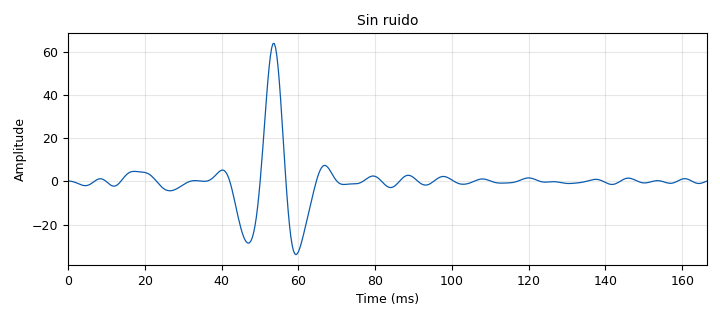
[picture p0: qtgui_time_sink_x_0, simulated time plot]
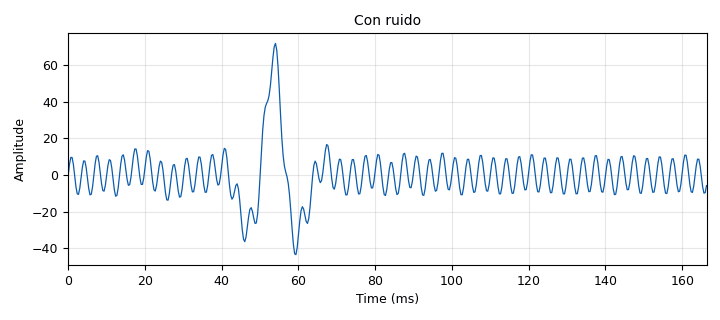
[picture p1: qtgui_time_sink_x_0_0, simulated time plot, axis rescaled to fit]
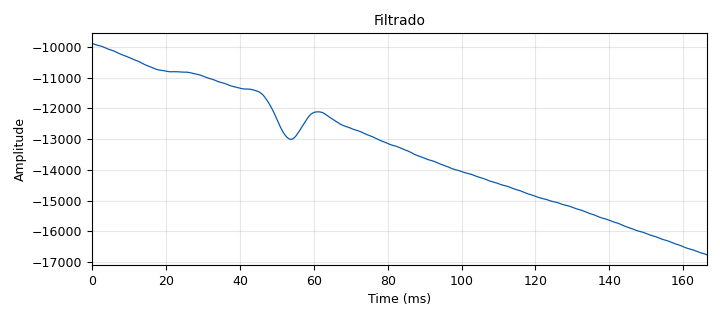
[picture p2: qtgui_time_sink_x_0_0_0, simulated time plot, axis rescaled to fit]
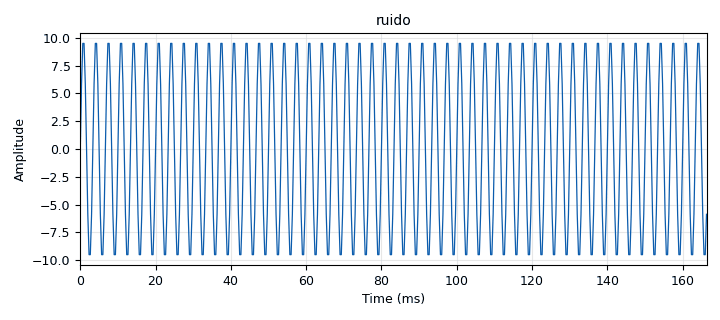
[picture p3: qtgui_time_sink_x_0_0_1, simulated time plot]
options:
  parameters:
    generate_options: qt_gui
    id: Practica1
    output_language: python
    title: Not titled yet
  states: {}

blocks:
- name: puntos
  id: variable
  parameters:
    value: '500'
  states: {}
- name: samp_rate
  id: variable
  parameters:
    value: '1000'
  states: {}
- name: analog_fastnoise_source_x_0
  id: analog_fastnoise_source_x
  parameters:
    amp: '1'
    noise_type: analog.GR_GAUSSIAN
    samples: '8192'
    seed: '0'
    type: float
  states: {state: disabled}
- name: analog_sig_source_x_1_0
  id: analog_sig_source_x
  parameters:
    amp: '1'
    freq: '500'
    offset: '20'
    phase: '0'
    samp_rate: samp_rate
    type: float
    waveform: analog.GR_SIN_WAVE
  states: {state: disabled}
- name: blocks_add_const_vxx_0
  id: blocks_add_const_vxx
  parameters:
    const: '50'
    type: float
  states: {state: disabled}
- name: blocks_add_xx_0
  id: blocks_add_xx
  parameters:
    type: float
  states: {}
- name: blocks_multiply_const_vxx_0
  id: blocks_multiply_const_vxx
  parameters:
    const: '1000'
    type: float
  states: {}
- name: blocks_multiply_const_vxx_0_0
  id: blocks_multiply_const_vxx
  parameters:
    const: '10'
    type: float
  states: {}
- name: blocks_multiply_const_vxx_0_1
  id: blocks_multiply_const_vxx
  parameters:
    const: '0.2'
    type: float
  states: {}
- name: blocks_vector_source_x_0
  id: blocks_vector_source_x
  parameters:
    repeat: 'True'
    type: float
    vector: (0.000200113940055307,0.00014440624344565,6.0975847227686e-05,-5.46014036076452e-05,-0.000204878638034827,-0.000389693367393234,-0.000605515156760819,-0.000845073566614587,-0.0010973383739139,-0.00134789985377776,-0.00157976454509979,-0.00177454265752001,-0.00191395970878005,-0.0019815811483561,-0.00196459984198519,-0.00185550816670283,-0.00165346461180738,-0.00136517340569841,-0.00100512675009838,-0.000595111797051836,-0.000162954497343012,0.000259446975251974,0.000638664251813284,0.000942647135539775,0.00114373266738037,0.00122145825287278,0.00116488206190405,0.000974146570954971,0.00066108481999859,0.000248758224861699,-0.000230079146238615,-0.000735483266907812,-0.00122357844230086,-0.00165027403648616,-0.00197508611570448,-0.00216469078181463,-0.00219585604870782,-0.00205745754562383,-0.00175137427968215,-0.0012921745930451,-0.000705627109905991,-2.61934024829646e-05,0.00070623499746316,0.00145001447050304,0.00216545975231623,0.00281820467003965,0.00338187295196471,0.00383979868501191,0.00418564482251067,0.00442289372035233,0.00456331145220758,0.00462460249040075,0.00462755938569609,0.00459306258315741,0.00453929232767813,0.004479477155928,0.00442042691696455,0.00436199292969834,0.00429747785415991,0.00421489902357234,0.00409890683677757,0.00393308722826981,0.00370234270831022,0.00339505297906624,0.00300476087828233,0.00253120439372679,0.00198060893859365,0.00136525227827014,0.000702403922614835,1.28100182091053e-05,-0.000681064038721584,-0.00135681126241814,-0.0019936793569625,-0.00257382906809958,-0.00308315947531173,-0.00351167272538253,-0.00385341439399119,-0.00410607663770059,-0.0042703834067176,-0.00434938741896758,-0.00434779807845636,-0.00427143194907586,-0.00412683895989059,-0.00392111552130566,-0.00366187730953036,-0.0033573354765104,-0.00301640424149474,-0.00264876657616781,-0.00226483700370197,-0.00187558340094141,-0.00149219871740396,-0.00112564356975896,-0.0007861065955804,-0.000482446835148157,-0.000221688231169623,-8.62951249527386e-06,0.000154385581516236,0.000267519242406115,0.000333322808098435,0.00035649026945816,0.000343538743343811,0.000302478817049617,0.000242529559864927,0.000173911403208241,0.000107718621780369,5.58376572181464e-05,3.08451706996274e-05,4.57977481643512e-05,0.000113819682155407,0.00024740994513233,0.000457424888816178,0.000751746312314292,0.00113370886396827,0.00160042705724378,0.00214121969459216,0.00273636736843054,0.00335644776873558,0.00396246788160763,0.00450695049003691,0.00493603863219083,0.00519256500348532,0.00521990726839201,0.0049663312853954,0.00438942952289843,0.00346020705160275,0.00216636412352442,0.000514378261624767,-0.00146990153061499,-0.00374227970146096,-0.00624280355345915,-0.00889966908468072,-0.011634020010416,-0.0143650850657392,-0.0170150323591609,-0.0195129330883569,-0.0217973250122449,-0.0238170419592341,-0.0255302112032664,-0.0269015879021039,-0.0278986605838057,-0.02848718728123,-0.0286269743452287,-0.0282687624938693,-0.0273530217634721,-0.0258112770760641,-0.0235703024307024,-0.0205591618237885,-0.0167186782761926,-0.0120125259399355,-0.00643881383622241,-4.08095522999134e-05,0.00708462603698658,0.0147822342202627,0.0228382690693347,0.0309858004449588,0.0389155638333789,0.0462919267831338,0.0527729592536368,0.0580330828669268,0.0617863954271837,0.0638085732164018,0.0639552760984739,0.0621752266453203,0.0585165853211623,0.0531258552668581,0.0462392581455556,0.0381672496627283,0.0292735089235518,0.0199502651629946,0.0105921595065571,0.00157094204776767,-0.00678683334513939,-0.0142173133175452,-0.0205307812255084,-0.0256164065654331,-0.029440374337847,-0.0320381056774195,-0.0335018148790261,-0.0339650166631736,-0.0335857688012085,-0.0325304016716887,-0.0309592652392753,-0.0290156538424294,-0.0268186037051668,-0.0244597583970689,-0.0220040240715717,-0.019493341676814,-0.01695262606752,-0.0143967832745243,-0.0118377199238216,-0.00929038872599876,-0.00677714321102035,-0.00432996665539077,-0.00199045400333611,0.000192277376209051,0.00216532498718682,0.00387678977280782,0.00528093198959948,0.00634301143696893,0.00704320975104985,0.00737917611053177,0.00736692228930839,0.00703999422413469,0.00644704153819311,0.00564807336214827,0.00470981290846006,0.00370063517668515,0.00268558875702079,0.00172196670022661,0.000855810589867568,0.000119617834971474,-0.000468611302221438,-0.000904988600115778,-0.00119814515551548,-0.00136666892838772,-0.00143588749936694,-0.00143435239413941,-0.00139038565461738,-0.00132901879431223,-0.00126959416845431,-0.00122421674357519,-0.00119714933804521,-0.00118514624652248,-0.0011786280822912,-0.00116352295108406,-0.00112354232075811,-0.00104262863600241,-0.000907307820844498,-0.000708702630835667,-0.00044400905976486,-0.000117302041487417,0.000260388889132944,0.000671716879054482,0.0010942808147187,0.00150237059728153,0.00186901370169647,0.00216812637952211,0.00237657854930063,0.00247600547966716,0.00245423670562643,0.00230625699474962,0.00203465933400678,0.00164959057783041,0.00116822309148751,0.000613809071636559,1.43888610348729e-05,-0.000598767410252708,-0.00119290138628019,-0.00173560499422722,-0.00219666663679108,-0.00254983234919323,-0.002774386464747,-0.00285645650209421,-0.0027899526416946,-0.00257706551620124,-0.0022282682706107,-0.0017617996140247,-0.00120264187897633,-0.00058104843132771,6.92863720027537e-05,0.000713288917776045,0.00131665206623983,0.00184790895369461,0.00228028570805822,0.00259320487946901,0.00277334383508756,0.00281519216230567,0.00272109445762555,0.00250080508512676,0.00217061574221539,0.00175214240481555,0.00127087423226119,0.000754593274143314,0.000231771187801268,-0.000269960953290867,-0.000725189579236312,-0.00111188182810547,-0.00141229608052683,-0.00161362194262253,-0.00170835036178683,-0.00169438886530371,-0.00157494584872142,-0.00135821122355096,-0.0010568594338002,-0.000687396712021385,-0.000269369952962888,0.000175547670451488,0.000624577161148594,0.00105493565827858,0.00144498309565059,0.00177536158251836,0.00203006061930671,0.00219733045655403,0.00227036297398893,0.00224766724959697,0.00213308670148552,0.00193543536512732,0.00166776930435413,0.00134635022736661,0.00098939584653526,0.000615739105620484,0.000243530967304695,-0.000110883953690052,-0.000433813133236578,-0.00071471618882065,-0.000946340529204577,-0.00112452450964548,-0.00124774485241352,-0.00131651688437315,-0.00133276959788013,-0.00129931038863656,-0.00121946778252208,-0.00109695910240497,-0.00093598102317022,-0.00074147288542198,-0.000519463971809334,-0.000277393643661564,-2.42915035434386e-05,0.000229275676684204,0.000471545570067621,0.000690195582914319,0.000873222944685021,0.00100997212678488,0.00109217741355436,0.0011148739153428,0.00107703891423008,0.000981856308384825,0.00083654554440856,0.000651755383136464,0.000440583079864948,0.00021733187677689,-3.84376192795978e-06,-0.000210240309046131,-0.000391697532860018,-0.000541353110097968,-0.000655977704628723,-0.000735864810318614,-0.000784307569758338,-0.000806746558863339,-0.000809711505778639,-0.000799701576074277,-0.000782151289588166,-0.000760613047893783,-0.000736255640929428,-0.000707735649391503,-0.000671451004216344,-0.000622138947095871,-0.000553739614645574,-0.000460415766046001,-0.000337601706333363,-0.000182951568443384,2.93140528051335e-06,0.000216078708203566,0.000449113445434634,0.000691599561689357,0.000930759952194605,0.00115249931844711,0.00134263321046672,0.00148820009320608,0.00157872115295497,0.00160727439899878,0.00157126551392052,0.00147280651625828,0.00131865192835482,0.00111968700211263,0.000890009133068063,0.000645687084998013,0.000403318410569653,0.000178529448123903,-1.54285227532038e-05,-0.000168840609757943,-0.000276324370768662,-0.000337175950909794,-0.000355230466722938,-0.000338255067539062,-0.000296946410434622,-0.000243649973994171,-0.000190950658820265,-0.000150297967769344,-0.00013082252282827,-0.00013847433148929,-0.000175570458647141,-0.000240786383614842,-0.000329568676776907,-0.000434894514827858,-0.000548263028283917,-0.000660779804225844,-0.000764191753833512,-0.000851744787764557,-0.00091876831407227,-0.000962933236944845,-0.00098417731474084,-0.000984336617130362,-0.000966558410823202,-0.000934594770273242,-0.000892085365289789,-0.000841932256770222,-0.000785851120280141,-0.000724155524088022,-0.000655797893285283,-0.000578656896065228,-0.000490030079143107,-0.000387265770826593,-0.000268451728684139,-0.000133070923738048,1.74625009632871e-05,0.000179462224437982,0.00034687905507884,0.000511490098729325,0.000663367895761964,0.000791599396626976,0.000885196638735452,0.000934118158722998,0.000930305029337397,0.000868629670359972,0.000747659934844116,0.000570154983610081,0.000343231677153832,7.81683950210078e-05,-0.000210155368335575,-0.00050415342664608,-0.000784701552029866,-0.00103249555678032,-0.0012294954194788,-0.00136034120110995,-0.00141362418191808,-0.00138290327944322,-0.00126737236765999,-0.0010721081550569,-0.000807859805720919,-0.000490378813338086,-0.000139328216291135,0.000223149396621144,0.000574089745308699,0.000891448415555976,0.00115577046582212,0.00135163537102365,0.00146874501895209,0.00150255892756105,0.00145442922660713,0.00133124196154906,0.00114462342492924,0.000909813077199756,0.000644332231029026,0.000366586711624726,9.45321149946576e-05,-0.000155494740128732,-0.000369709295771288,-0.00053754618217212,-0.000652061273133592,-0.00071009426106648,-0.000712228726518318,-0.000662586472718498,-0.00056848393572358,-0.000439965597953946,-0.000289217912628573,-0.000129861925453846,2.38736148924404e-05,0.000158083920441791,0.000260189624547326,0.00031994954907837,0.000330404628144854,0.000288658217124775,0.000196394681611025,6.00486576766337e-05,-0.000109437898902251,-0.00029729663644698,-0.000486031785464383,-0.000656868366405427,-0.000791434828124995,-0.00087352847261151,-0.00089078973818938,-0.000836107609818895,-0.000708594894797663,-0.000514008147436457,-0.000264539417700702,2.20297035334809e-05,0.000323754066257173,0.000616409862158625,0.000875665056447749,0.00107932699405464,0.00120944537188515,0.0012540586195454,0.00120840408414644,0.0010754640068577,0.000865784758857321,0.000596579320693651,0.000290194929476278,-2.79083720989017e-05,-0.000331473560463382,-0.000595833044339481,-0.000800135741713615,-0.000929202231202293,-0.000974834239050699,-0.000936460805160161,-0.000821070627190273,-0.00064245097245292,-0.00041982052691891,-0.000175999601216166,6.46993071041835e-05)
  states: {}
- name: blocks_vector_source_x_1
  id: blocks_vector_source_x
  parameters:
    repeat: 'True'
    type: float
    vector: (0,0.587785252292473,0.951056516295154,0.951056516295154,0.587785252292473,1.22464679914735e-16,-0.587785252292473,-0.951056516295154,-0.951056516295154,-0.587785252292473,-2.44929359829471e-16,0.587785252292474,0.951056516295154,0.951056516295154,0.587785252292473,3.67394039744206e-16,-0.587785252292473,-0.951056516295154,-0.951056516295154,-0.587785252292473,-4.89858719658941e-16,0.587785252292473,0.951056516295154,0.951056516295153,0.587785252292472,6.12323399573677e-16,-0.587785252292473,-0.951056516295153,-0.951056516295154,-0.587785252292471,-7.34788079488412e-16,0.587785252292472,0.951056516295153,0.951056516295154,0.587785252292471,8.57252759403147e-16,-0.587785252292472,-0.951056516295153,-0.951056516295154,-0.587785252292471,-9.79717439317883e-16,0.587785252292475,0.951056516295153,0.951056516295154,0.587785252292471,1.10218211923262e-15,-0.587785252292475,-0.951056516295153,-0.951056516295153,-0.587785252292471,-1.22464679914735e-15,0.587785252292475,0.951056516295153,0.951056516295153,0.587785252292474,4.89982515786259e-15,-0.587785252292472,-0.951056516295154,-0.951056516295152,-0.587785252292471,-1.46957615897682e-15,0.587785252292475,0.951056516295153,0.951056516295153,0.587785252292474,-1.96067283990894e-15,-0.587785252292472,-0.951056516295154,-0.951056516295152,-0.587785252292472,-1.71450551880629e-15,0.587785252292475,0.951056516295153,0.951056516295153,0.587785252292475,5.38968387752153e-15,-0.587785252292472,-0.951056516295154,-0.951056516295152,-0.587785252292472,-1.95943487863577e-15,0.587785252292469,0.951056516295155,0.951056516295153,0.587785252292475,-1.47081412025e-15,-0.587785252292471,-0.951056516295154,-0.951056516295152,-0.587785252292472,-2.20436423846524e-15,0.587785252292468,0.951056516295155,0.951056516295153,0.587785252292475,5.87954259718047e-15,-0.587785252292477,-0.951056516295154,-0.951056516295152,-0.587785252292472,-2.44929359829471e-15,0.58778525229248,0.951056516295155,0.951056516295151,0.587785252292475,-9.80955400591059e-16,-0.587785252292477,-0.951056516295156,-0.951056516295154,-0.587785252292472,-9.79965031572518e-15,0.58778525229248,0.951056516295153,0.951056516295153,0.58778525229247,6.36940131683941e-15,-0.587785252292482,-0.951056516295154,-0.951056516295152,-0.587785252292478,-2.93915231795365e-15,0.587785252292474,0.951056516295155,0.951056516295151,0.587785252292476,-4.91096680932118e-16,-0.587785252292476,-0.951056516295156,-0.951056516295155,-0.587785252292473,3.92134567981788e-15,0.587785252292479,0.951056516295153,0.951056516295154,0.58778525229247,6.85926003649835e-15,-0.587785252292482,-0.951056516295154,-0.951056516295152,-0.587785252292479,-3.42901103761259e-15,0.587785252292473,0.951056516295155,0.951056516295151,0.587785252292476,-1.23796127317672e-18,-0.587785252292476,-0.951056516295156,-0.951056516295155,-0.587785252292473,-1.07793677550431e-14,0.587785252292479,0.951056516295152,0.951056516295154,0.58778525229247,7.3491187561573e-15,-0.587785252292482,-0.951056516295154,-0.951056516295153,-0.587785252292479,-3.91886975727153e-15,0.587785252292473,0.95105651629515,0.951056516295152,0.587785252292465,4.88620758385765e-16,-0.587785252292476,-0.951056516295151,-0.951056516295155,-0.587785252292462,2.9416282405e-15,0.587785252292478,0.951056516295152,0.951056516295154,0.587785252292471,7.83897747581624e-15,-0.587785252292481,-0.951056516295149,-0.951056516295153,-0.587785252292468,-4.40872847693047e-15,0.587785252292472,0.95105651629515,0.951056516295152,0.587785252292465,9.78479478044706e-16,-0.587785252292475,-0.951056516295151,-0.951056516295155,-0.587785252292462,-1.17590851943609e-14,0.587785252292478,0.951056516295157,0.951056516295154,0.587785252292471,8.32883619547518e-15,-0.587785252292481,-0.951056516295158,-0.951056516295153,-0.587785252292468,-4.89858719658941e-15,0.587785252292472,0.951056516295159,0.951056516295152,0.587785252292466,1.56791929129057e-14,-0.587785252292486,-0.95105651629516,-0.951056516295155,-0.587785252292474,1.96191080118212e-15,0.587785252292478,0.951056516295156,0.95105651629515,0.58778525229246,8.81869491513412e-15,-0.587785252292469,-0.951056516295162,-0.951056516295153,-0.587785252292469,-1.95993006314504e-14,0.587785252292483,0.951056516295159,0.951056516295156,0.587785252292478,1.95819691736259e-15,-0.587785252292474,-0.951056516295155,-0.951056516295151,-0.587785252292463,-1.27388026336788e-14,0.587785252292466,0.951056516295161,0.951056516295154,0.587785252292472,-4.90230108040894e-15,-0.58778525229248,-0.951056516295157,-0.951056516295158,-0.587785252292458,-5.8783046359073e-15,0.587785252292471,0.951056516295154,0.951056516295152,0.587785252292466,1.66589103522235e-14,-0.587785252292485,-0.951056516295159,-0.951056516295155,-0.587785252292475,9.82193361864236e-16,0.587785252292477,0.951056516295156,0.95105651629515,0.587785252292461,9.798412354452e-15,-0.587785252292468,-0.951056516295162,-0.951056516295153,-0.58778525229247,7.84269135963577e-15,0.587785252292482,0.951056516295158,0.951056516295157,0.587785252292478,2.93791435668047e-15,-0.587785252292474,-0.951056516295155,-0.951056516295151,-0.587785252292464,-1.37185200729967e-14,0.587785252292465,0.95105651629516,0.951056516295155,0.587785252292473,-3.92258364109106e-15,-0.587785252292479,-0.951056516295157,-0.951056516295158,-0.587785252292458,-6.85802207522518e-15,0.58778525229247,0.951056516295154,0.951056516295152,0.587785252292467,1.76386277915414e-14,-0.587785252292485,-0.951056516295159,-0.951056516295156,-0.587785252292476,2.47592254635343e-18,0.587785252292476,0.951056516295156,0.95105651629515,0.587785252292462,1.07781297937699e-14,-0.587785252292467,-0.951056516295161,-0.951056516295154,-0.58778525229247,-2.15587355100861e-14,0.587785252292482,0.951056516295158,0.951056516295157,0.587785252292479,3.91763179599835e-15,-0.587785252292473,-0.951056516295155,-0.951056516295152,-0.587785252292465,-1.46982375123146e-14,0.587785252292464,0.95105651629516,0.951056516295155,0.587785252292474,-2.94286620177318e-15,-0.587785252292478,-0.951056516295157,-0.951056516295158,-0.587785252292459,-7.83773951454306e-15,0.58778525229247,0.951056516295153,0.951056516295144,0.587785252292491,1.86183452308593e-14,-0.587785252292484,-0.951056516295159,-0.951056516295147,-0.587785252292477,-9.77241516771529e-16,0.587785252292475,0.951056516295155,0.951056516295151,0.587785252292485,1.17578472330878e-14,-0.587785252292466,-0.951056516295161,-0.951056516295145,-0.587785252292494,5.883256481e-15,0.587785252292481,0.951056516295158,0.951056516295149,0.58778525229248,4.89734923531624e-15,-0.587785252292472,-0.951056516295154,-0.951056516295152,-0.587785252292489,-1.56779549516325e-14,0.587785252292463,0.95105651629516,0.951056516295146,0.587785252292497,-1.9631487624553e-15,-0.587785252292478,-0.951056516295156,-0.95105651629515,-0.587785252292483,-8.81745695386094e-15,0.587785252292469,0.951056516295153,0.951056516295144,0.587785252292492,1.95980626701772e-14,-0.587785252292483,-0.951056516295159,-0.951056516295148,-0.587785252292478,-1.95695895608941e-15,0.587785252292474,0.951056516295155,0.951056516295151,0.587785252292486,1.27375646724056e-14,-0.587785252292466,-0.951056516295161,-0.951056516295145,-0.587785252292495,-2.35181703887219e-14,0.58778525229248,0.951056516295157,0.951056516295149,0.587785252292458,5.87706667463412e-15,-0.587785252292471,-0.951056516295154,-0.951056516295152,-0.587785252292443,-1.66576723909504e-14,0.587785252292462,0.951056516295159,0.951056516295147,0.587785252292452,-9.83431323137413e-16,-0.587785252292477,-0.951056516295156,-0.95105651629515,-0.587785252292461,-9.79717439317883e-15,0.587785252292468,0.951056516295153,0.951056516295145,0.587785252292447,2.05777801094951e-14,-0.587785252292482,-0.951056516295158,-0.951056516295148,-0.587785252292432,-3.13583858258113e-14,0.587785252292474,0.951056516295164,0.951056516295151,0.587785252292441,-1.47044273186805e-14,-0.587785252292465,-0.95105651629516,-0.951056516295155,-0.58778525229245,3.92382160236424e-15,0.587785252292456,0.951056516295157,0.95105651629514,0.587785252292458,6.856784113952e-15,-0.587785252292493,-0.951056516295154,-0.951056516295144,-0.587785252292467,-1.76373898302682e-14,0.587785252292485,0.95105651629515,0.951056516295147,0.58778525229243,2.84179955465845e-14,-0.587785252292476,-0.951056516295165,-0.95105651629515,-0.587785252292439,-3.91986012629007e-14,0.587785252292467,0.951056516295161,0.951056516295154,0.587785252292447,-6.86421188159106e-15,-0.587785252292458,-0.951056516295158,-0.951056516295157,-0.587785252292456,-3.91639383472518e-15,0.58778525229245,0.951056516295155,0.951056516295143,0.587785252292465,1.46969995510414e-14,-0.587785252292487,-0.951056516295151,-0.951056516295146,-0.587785252292474,-2.54776052673577e-14,0.587785252292478,0.951056516295148,0.951056516295149,0.587785252292436,3.62582109836739e-14,-0.58778525229247,-0.951056516295162,-0.951056516295153,-0.587785252292445,9.80460216081789e-15,0.587785252292461,0.951056516295159,0.951056516295156,0.587785252292454,9.76003555498352e-16,-0.587785252292452,-0.951056516295155,-0.951056516295142,-0.587785252292462,-1.17566092718146e-14,0.587785252292489,0.951056516295152,0.951056516295145,0.587785252292471,2.25372149881308e-14,-0.587785252292481,-0.951056516295149,-0.951056516295149,-0.587785252292434,-3.33178207044471e-14,0.587785252292472,0.951056516295163,0.951056516295152,0.587785252292443,-1.27449924400447e-14,-0.587785252292463,-0.95105651629516,-0.951056516295155,-0.587785252292451)
  states: {}
- name: epy_block_0_0
  id: epy_block
  parameters:
    _source_code: |
      import numpy as np
      from gnuradio import gr

      class blk(gr.sync_block):
      	def __init__(self): # only default arguments here
      		gr.sync_block.__init__(
      			self,
      			name ="e_Acum", # will show up in GRC
      			in_sig =[ np.float32 ],
      			out_sig =[ np.float32 ]
      		)
      			
      	def work(self , input_items , output_items ):
      		
      		x = input_items[0] # Senial de entrada .
      		y0 = output_items[0] # Senial acumulada
      		y0[:] = np.cumsum(x)
      			
      		return len(y0)
  states: {}
- name: epy_block_1_0
  id: epy_block
  parameters:
    _source_code: |
      import numpy as np
      from gnuradio import gr

      class blk(gr.sync_block):

      	def __init__(self): # only default arguments here
      		gr.sync_block.__init__(
      			self,
      			name="e_Diff", # will show up in GRC
      			in_sig=[np.float32],
      			out_sig=[np.float32]
      		)
      		self.acum_anterior=0
      		
      	def work(self , input_items , output_items ):
      		x=input_items[0] # Senial de entrada .
      		y0=output_items[0] # Senial acumulada diferencial
      		
      		N=len(x)
      		self.acum_anterior=x
      		diff=np.cumsum(x)-self.acum_anterior
      		self.acum_anterior = diff[N -1]
      		y0[:]=diff
      		return len(y0)
  states: {}
- name: epy_block_2
  id: epy_block
  parameters:
    _source_code: |
      import numpy as np
      from gnuradio import gr

      class blk (gr.sync_block ):

      	def __init__ ( self ): # only default arguments here
      		gr.sync_block.__init__(
      			self,
      			name =" Promedios_de_tiempos ", # will show up in GRC
      			in_sig =[ np.float32 ],
      			out_sig =[ np.float32 ,np.float32 ,np.float32 ,np.float32 ,np.float32 ]
      		)
      		self.acum_anterior = 0
      		self.Ntotales = 0
      		self.acum_anterior1 = 0
      		self.acum_anterior2 = 0

      	def work (self , input_items , output_items ):
      		x = input_items[0] # Senial de entrada .
      		y0 = output_items[0] # Promedio de la senial
      		y1 = output_items[1] # Media de la senial
      		y2 = output_items[2] # RMS de la senial
      		y3 = output_items[3] # Potencia promedio de la senial
      		y4 = output_items[4] # Desviacion estandar de la senial

      		# Calculo del promedio
      		N = len(x)
      		self.Ntotales = self.Ntotales + N
      		acumulado = self.acum_anterior + np.cumsum(x)
      		self.acum_anterior = acumulado[N -1]	
      		y0[:]= acumulado/self.Ntotales

      		# Calculo de la media cuadratica
      		x2=np.multiply(x,x)
      		acumulado1 = self.acum_anterior1 + np.cumsum(x2)
      		self.acum_anterior1 = acumulado1[N -1]
      		y1[:] = acumulado1/self.Ntotales

      		# Calculo de la RMS
      		y2[:] = np.sqrt(y1)
      	
      		# Calculo de la potencia promedio
      		y3[:] = np.multiply(y2 ,y2)
      	
      		# Calculo de la desviacion estandar
      		x3 = np.multiply(x-y0 ,x-y0)
      		acumulado2 = self.acum_anterior2 + np.cumsum(x3)
      		self.acum_anterior2 = acumulado2[N -1]
      		y4[:] = np.sqrt( acumulado2 / self.Ntotales )
      	
      		return len (y0)
  states: {}
- name: low_pass_filter_0
  id: low_pass_filter
  parameters:
    cutoff_freq: '50'
    decim: '1'
    gain: '1'
    samp_rate: samp_rate
    type: fir_filter_fff
    width: '1'
    win: window.WIN_HAMMING
  states: {state: disabled}
- name: qtgui_number_sink_0_1
  id: qtgui_number_sink
  parameters:
    autoscale: 'True'
    graph_type: qtgui.NUM_GRAPH_HORIZ
    label1: '"Media acum"'
    max: '8'
    min: '0'
    name: '"Media"'
    type: float
  states: {}
- name: qtgui_number_sink_0_2
  id: qtgui_number_sink
  parameters:
    autoscale: 'True'
    graph_type: qtgui.NUM_GRAPH_HORIZ
    label1: '"Media acum"'
    max: '8'
    min: '0'
    name: '"Media Cuadratica"'
    type: float
  states: {}
- name: qtgui_number_sink_2
  id: qtgui_number_sink
  parameters:
    graph_type: qtgui.NUM_GRAPH_HORIZ
    label1: '"RMS"'
    name: '"RMS"'
    type: float
  states: {}
- name: qtgui_number_sink_3
  id: qtgui_number_sink
  parameters:
    graph_type: qtgui.NUM_GRAPH_HORIZ
    label1: '"Potencia Promedio"'
    name: '"Potencia Promedio"'
    type: float
  states: {}
- name: qtgui_number_sink_4
  id: qtgui_number_sink
  parameters:
    graph_type: qtgui.NUM_GRAPH_HORIZ
    label1: '"Desviaciòn estandar"'
    name: '"Desviaciòn estandar"'
    type: float
  states: {}
- name: qtgui_time_sink_x_0
  id: qtgui_time_sink_x
  parameters:
    autoscale: 'True'
    name: '"Sin ruido"'
    size: puntos
    srate: samp_rate*3
    type: float
  states: {}
- name: qtgui_time_sink_x_0_0
  id: qtgui_time_sink_x
  parameters:
    name: '"Con ruido"'
    size: puntos
    srate: samp_rate*3
    type: float
  states: {}
- name: qtgui_time_sink_x_0_0_0
  id: qtgui_time_sink_x
  parameters:
    name: '"Filtrado"'
    size: puntos
    srate: samp_rate*3
    type: float
  states: {}
- name: qtgui_time_sink_x_0_0_1
  id: qtgui_time_sink_x
  parameters:
    autoscale: 'True'
    name: '"ruido"'
    size: puntos
    srate: samp_rate*3
    type: float
    update_time: '0.1'
  states: {}

connections:
- [analog_fastnoise_source_x_0, '0', blocks_multiply_const_vxx_0_0, '0']
- [analog_sig_source_x_1_0, '0', blocks_multiply_const_vxx_0_0, '0']
- [blocks_add_const_vxx_0, '0', blocks_multiply_const_vxx_0_0, '0']
- [blocks_add_xx_0, '0', epy_block_0_0, '0']
- [blocks_add_xx_0, '0', low_pass_filter_0, '0']
- [blocks_add_xx_0, '0', qtgui_time_sink_x_0_0, '0']
- [blocks_multiply_const_vxx_0, '0', blocks_add_xx_0, '0']
- [blocks_multiply_const_vxx_0, '0', qtgui_time_sink_x_0, '0']
- [blocks_multiply_const_vxx_0_0, '0', blocks_add_xx_0, '1']
- [blocks_multiply_const_vxx_0_0, '0', qtgui_time_sink_x_0_0_1, '0']
- [blocks_multiply_const_vxx_0_1, '0', epy_block_2, '0']
- [blocks_multiply_const_vxx_0_1, '0', qtgui_time_sink_x_0_0_0, '0']
- [blocks_vector_source_x_0, '0', blocks_multiply_const_vxx_0, '0']
- [blocks_vector_source_x_1, '0', blocks_add_const_vxx_0, '0']
- [blocks_vector_source_x_1, '0', blocks_multiply_const_vxx_0_0, '0']
- [epy_block_0_0, '0', epy_block_1_0, '0']
- [epy_block_1_0, '0', blocks_multiply_const_vxx_0_1, '0']
- [epy_block_2, '0', qtgui_number_sink_0_1, '0']
- [epy_block_2, '1', qtgui_number_sink_0_2, '0']
- [epy_block_2, '2', qtgui_number_sink_2, '0']
- [epy_block_2, '3', qtgui_number_sink_3, '0']
- [epy_block_2, '4', qtgui_number_sink_4, '0']
- [low_pass_filter_0, '0', epy_block_2, '0']
- [low_pass_filter_0, '0', qtgui_time_sink_x_0_0_0, '0']

metadata:
  file_format: 1
  grc_version: v3.11.0.0git-810-g1ecb8565
